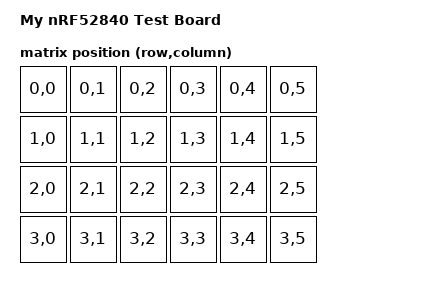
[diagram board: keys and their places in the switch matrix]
// SPDX-License-Identifier: MIT
#include <dt-bindings/zmk/matrix.h>
#include <dt-bindings/zmk/keys.h>

/ {
    model = "My nRF52840 Test Board";
    compatible = "zmk,nice_nano_v2", "zmk,nice_nano"; // Use 'nice_nano_v2' se seu clone for da versão 2

    chosen {
        zmk,kscan = &kscan0;
        zmk,matrix_transform = &default_transform;
    };

    default_transform: default_transform {
        compatible = "zmk,kscan-transform";
        rows = <4>; // Número de linhas para o seu teclado
        columns = <6>; // Número de colunas para o seu teclado
        map = <
            RC(0,0) RC(0,1) RC(0,2) RC(0,3) RC(0,4) RC(0,5)
            RC(1,0) RC(1,1) RC(1,2) RC(1,3) RC(1,4) RC(1,5)
            RC(2,0) RC(2,1) RC(2,2) RC(2,3) RC(2,4) RC(2,5)
            RC(3,0) RC(3,1) RC(3,2) RC(3,3) RC(3,4) RC(3,5)
        >;
    };

    kscan0: kscan_0 {
        compatible = "zmk,kscan-gpio-matrix";
        diode-direction = "col2row";

        row-gpios =
            // Estes são comentados para o teste do LED. Você vai descomentar e preencher depois.
            // <&gpio0 P0_03 (GPIO_ACTIVE_HIGH | GPIO_PULL_DOWN)>,
            // <&gpio0 P0_04 (GPIO_ACTIVE_HIGH | GPIO_PULL_DOWN)>,
            // <&gpio0 P0_05 (GPIO_ACTIVE_HIGH | GPIO_PULL_DOWN)>,
            // <&gpio0 P0_06 (GPIO_ACTIVE_HIGH | GPIO_PULL_DOWN)>
            ;
        col-gpios =
            // Estes são comentados para o teste do LED. Você vai descomentar e preencher depois.
            // <&gpio0 P0_07 (GPIO_ACTIVE_HIGH | GPIO_PULL_UP)>,
            // <&gpio0 P0_08 (GPIO_ACTIVE_HIGH | GPIO_PULL_UP)>,
            // <&gpio0 P0_09 (GPIO_ACTIVE_HIGH | GPIO_PULL_UP)>,
            // <&gpio0 P0_10 (GPIO_ACTIVE_HIGH | GPIO_PULL_UP)>,
            // <&gpio0 P0_11 (GPIO_ACTIVE_HIGH | GPIO_PULL_UP)>,
            // <&gpio0 P0_12 (GPIO_ACTIVE_HIGH | GPIO_PULL_UP)>
            ;
    };

    // Adicione isto para testar um LED simples
    led_1: led_1 {
        compatible = "gpio-leds";
        status = "okay";
        red_led: red_led {
            gpios = <&gpio0 P0_15 GPIO_ACTIVE_HIGH>; // Mantenha P0_15 se for um Nice!Nano v2, que usa este pino para o LED.
            label = "Red LED";
        };
    };
};
